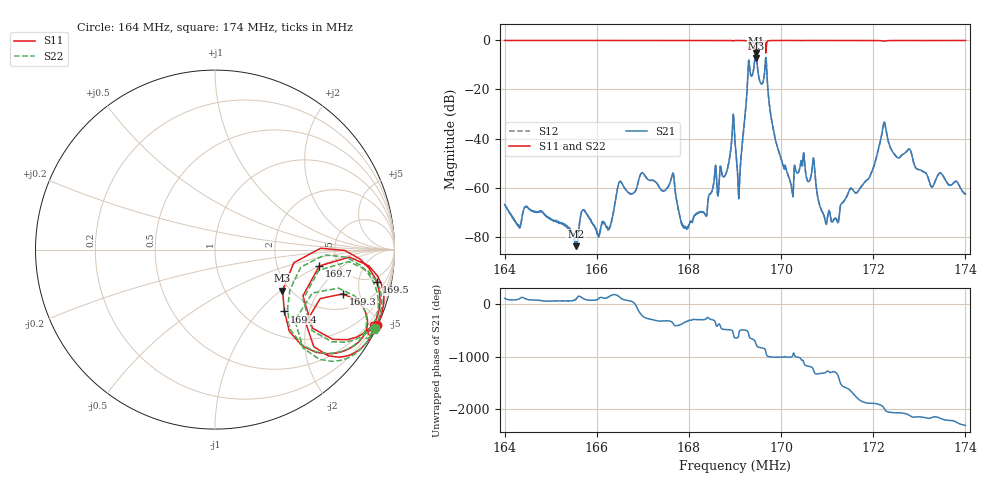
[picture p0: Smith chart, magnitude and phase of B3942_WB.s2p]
! Matrix data file written by TouchstoneData, EPCOS AG
! FILENAME: "B3942_MB.s2p"
! COMMENT: "B3942 un-matching wideband S-parameter"
! INFO: nport=2, nfreq=1601
! DATE: "Tue Nov 13 17:27:26 2012"
! USER: "Eluer Wang"
! port | pin | signal
!  1  |  1  |  in
!  2  |  5  |  out
# MHZ S MA R 50
! freq  magS11 angS11  magS21 angS21  magS12 angS12  magS22 angS22
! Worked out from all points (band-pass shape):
!   1601 points, 164 MHz to 174 MHz, reference 50 ohm
!   highest |S21| = -5.15 dB at 169.5 MHz (marker M1); lowest = -83.9 dB at 165.5 MHz (marker M2)
!   |S21| within 3 dB of the highest: 169.4263 MHz to 169.4734 MHz (47.03 kHz wide, 0.0278 % of centre); 169.6614 MHz to 169.6776 MHz (16.17 kHz wide, 0.00953 % of centre) (the widest 2 of 3)
!   lowest |S11| = -7.1 dB at 169.4 MHz (marker M3), VSWR 2.57, Z = 91.3 - j51.7 ohm
!   |S11| at or under -10 dB: nowhere
!   |S22| runs from -6.5 to -0.1 dB; largest |S21 - S12| = 0.0048
!   S11 on the Smith chart (normalised r, x): 164 MHz: 0.04, -4.51; 169.3 MHz: 3.01, -3.43; 169.4 MHz: 1.48, -1.39; 169.5 MHz: 3.63, -8.48; 169.7 MHz: 3.55, -1.00; 174 MHz: 0.05, -4.37
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164  0.9959 -25.0  0.0004536 110.4  0.000451 111.0  0.9912 -26.1
165.5437  0.9959 -25.4  6.412e-05 88.9  7.2e-05 94.0  0.9922 -26.5
165.6687  0.9953 -25.4  0.0003219 129.5  0.0003104 127.6  0.9919 -26.6
166.0375  0.9953 -25.5  0.0001022 104.7  9.683e-05 99.7  0.9918 -26.7
166.5062  0.9951 -25.6  0.001341 125.4  0.001337 125.5  0.9889 -26.8
167.3375  0.9923 -25.8  0.001101 38.5  0.001093 38.8  0.9915 -27.0
167.6438  0.9949 -26.0  0.001916 7.5  0.001904 7.8  0.9891 -27.3
167.9437  0.9961 -26.2  0.0001494 24.6  0.0001495 26.6  0.9922 -27.4
169  0.9932 -28.0  0.00873 77.6  0.008697 77.9  0.9891 -29.1
169.1  0.9944 -29.3  0.001434 -148.0  0.001429 -147.5  0.9906 -30.6
169.3063  0.7535 -19.1  0.3567 106.7  0.3546 107.0  0.7213 -17.3
169.4437  0.5183 -41.7  0.5094 -9.3  0.5062 -8.9  0.5203 -39.0
169.45  0.4397 -31.3  0.5366 -21.3  0.5332 -21.0  0.4741 -28.3
169.4563  0.4455 -9.4  0.553 -38.0  0.55 -37.6  0.4878 -11.6
169.4938  0.9189 -11.4  0.2504 -93.2  0.2492 -92.9  0.9188 -13.2
169.675  0.5876 -9.0  0.4269 145.3  0.4248 145.6  0.5894 -11.3
169.8688  0.9942 -21.8  0.01003 66.8  0.009984 67.3  0.99 -23.1
170.2125  0.9957 -24.0  0.00119 70.5  0.001186 71.0  0.9917 -25.2
170.6687  0.9947 -24.8  0.002205 -125.1  0.002192 -124.8  0.991 -26.0
171.2063  0.9948 -25.2  0.0002266 120.4  0.0002168 120.7  0.9905 -26.4
172.3375  0.9889 -24.9  0.008105 99.4  0.008082 99.7  0.9836 -26.5
174  0.9952 -25.8  0.0007383 -154.8  0.0007357 -154.8  0.9916 -27.0
